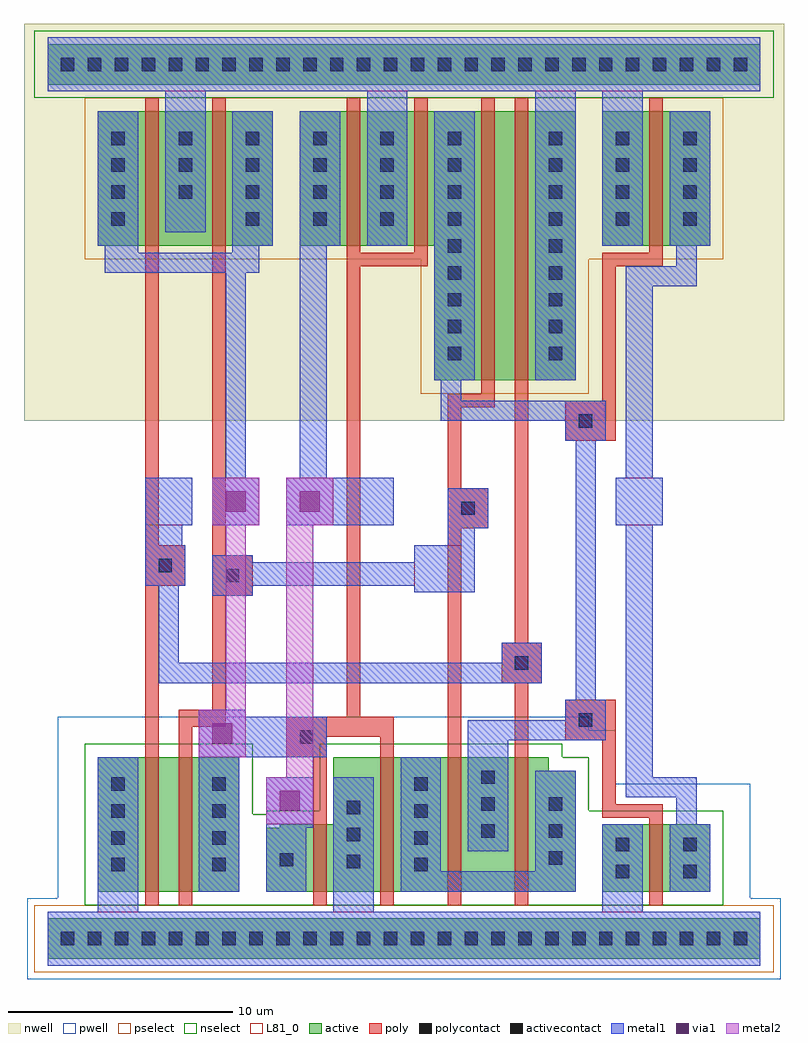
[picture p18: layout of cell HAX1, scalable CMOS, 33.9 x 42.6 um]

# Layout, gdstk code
import gdstk
lib = gdstk.Library(unit=1e-6, precision=1e-09)
def R(c, l, rs):  # rectangles x0, y0, x1, y1
    for r in rs: c.add(gdstk.rectangle(r[:2], r[2:], *l))
def A(c, l, x, y, w, h, nx, ny, dx, dy):  # array of equal rectangles
    R(c, l, [(x+i*dx, y+j*dy, x+i*dx+w, y+j*dy+h) for i in range(nx) for j in range(ny)])
pwell = (41, 0)
nwell = (42, 0)
active = (43, 0)
pselect = (44, 0)
nselect = (45, 0)
poly = (46, 0)
polycontact = (47, 0)
activecontact = (48, 0)
metal1 = (49, 0)
via1 = (50, 0)
metal2 = (51, 0)
L81_0 = (81, 0)

hax1 = lib.new_cell('HAX1')
R(hax1, pwell, [(-1.8,-1.8,31.8,1.8), (-0.45,1.8,30.45,6.9), (-0.45,6.9,24.45,9.3), (-0.45,9.3,23.25,9.9)])
R(hax1, nwell, [(-1.95,23.1,31.95,40.8)])
R(hax1, active, [(-0.9,-0.9,30.9,0.9), (1.35,2.1,7.65,8.1), (8.85,2.1,22.65,4.95), (23.85,2.1,28.65,5.1), (9.45,4.95,22.65,5.1), (11.85,5.1,22.65,7.5), (11.85,7.5,21.45,8.1), (16.35,24.9,22.65,30.9), (1.35,30.9,9.15,36.9), (10.35,30.9,22.65,36.9), (23.85,30.9,28.65,36.9), (-0.9,38.1,30.9,39.9)])
R(hax1, pselect, [(-1.5,-1.5,31.5,1.5), (15.75,24.3,23.25,30.3), (0.75,30.3,29.25,37.5)])
R(hax1, nselect, [(0.75,1.5,29.25,5.55), (0.75,5.55,8.25,8.7), (8.85,5.55,29.25,5.7), (11.25,5.7,23.25,8.1), (11.25,8.1,22.05,8.7), (-1.5,37.5,31.5,40.5)])
R(hax1, poly, [(3.45,1.5,4.05,15.75), (4.95,1.5,5.55,9.45), (10.95,1.5,11.55,8.1), (13.95,1.5,14.55,9), (16.95,1.5,17.55,18.3), (19.95,1.5,20.55,11.4), (25.95,1.5,26.55,5.4), (23.85,5.4,26.55,6), (23.85,6,24.45,8.85), (9.75,8.1,11.55,9), (22.2,8.85,24.45,10.65), (9.75,9,14.55,9.9), (4.95,9.45,7.05,10.2), (12.45,9.9,13.05,30), (6.45,10.2,7.05,15.3), (19.35,11.4,21.15,13.2), (19.95,13.2,20.55,37.5), (6.45,15.3,8.25,17.1), (3.45,15.75,5.25,17.55), (6.45,17.1,7.05,37.5), (3.45,17.55,4.05,37.5), (16.95,18.3,18.75,20.1), (16.95,20.1,17.55,23.7), (22.2,22.2,24.45,24), (16.95,23.7,19.05,24.3), (23.85,24,24.45,30), (18.45,24.3,19.05,37.5), (12.45,30,16.05,30.6), (23.85,30,26.55,30.6), (12.45,30.6,13.05,37.5), (15.45,30.6,16.05,37.5), (25.95,30.6,26.55,37.5)])
R(hax1, polycontact, [(10.35,8.7,10.95,9.3), (22.8,9.45,23.4,10.05), (19.95,12,20.55,12.6), (7.05,15.9,7.65,16.5), (4.05,16.35,4.65,16.95), (17.55,18.9,18.15,19.5), (22.8,22.8,23.4,23.4)])
A(hax1, activecontact, -0.3, -0.3, 0.6, 0.6, 26, 2, 1.2, 39)
A(hax1, activecontact, 1.95, 3, 0.6, 0.6, 1, 4, 0, 1.2)
A(hax1, activecontact, 6.45, 3, 0.6, 0.6, 1, 4, 0, 1.2)
A(hax1, activecontact, 15.45, 3, 0.6, 0.6, 1, 4, 0, 1.2)
A(hax1, activecontact, 12.45, 3.15, 0.6, 0.6, 1, 3, 0, 1.2)
A(hax1, activecontact, 21.45, 3.3, 0.6, 0.6, 1, 3, 0, 1.2)
A(hax1, activecontact, 18.45, 4.5, 0.6, 0.6, 1, 3, 0, 1.2)
A(hax1, activecontact, 16.95, 25.8, 0.6, 0.6, 1, 5, 0, 1.2)
A(hax1, activecontact, 21.45, 25.8, 0.6, 0.6, 1, 5, 0, 1.2)
A(hax1, activecontact, 7.95, 31.8, 0.6, 0.6, 4, 1, 3, 0)
A(hax1, activecontact, 21.45, 31.8, 0.6, 0.6, 3, 4, 3, 1.2)
A(hax1, activecontact, 1.95, 33, 0.6, 0.6, 6, 3, 3, 1.2)
R(hax1, activecontact, [(24.45,2.7,25.05,3.3), (27.45,2.7,28.05,3.3), (9.45,3.22,10.05,3.82), (24.45,3.9,25.05,4.5), (27.45,3.9,28.05,4.5), (1.95,31.8,2.55,32.4)])
R(hax1, metal1, [(-0.9,-1.2,30.9,1.2), (1.35,1.2,3.15,8.1), (11.85,1.2,13.65,7.2), (23.85,1.2,25.65,5.1), (5.85,2.1,7.65,8.1), (8.85,2.1,10.65,4.95), (14.85,2.1,22.65,3), (26.85,2.1,28.65,5.1), (14.85,3,16.65,8.1), (20.85,3,22.65,7.5), (17.85,3.9,19.65,8.85), (8.85,4.95,10.95,7.2), (27.15,5.1,28.05,6.3), (24.9,6.3,28.05,7.2), (24.9,7.2,26.1,18.45), (5.85,8.1,11.55,9.9), (17.85,8.85,24,9.75), (22.2,9.75,24,10.65), (5.85,9.9,7.95,10.2), (22.65,10.65,23.55,22.2), (4.05,11.4,21.15,12.3), (4.05,12.3,4.95,15.75), (19.35,12.3,21.15,13.2), (6.45,15.3,8.25,15.75), (15.45,15.45,18.15,15.75), (3.45,15.75,5.25,17.55), (6.45,15.75,18.15,16.8), (6.45,16.8,8.25,17.1), (15.45,16.8,18.15,17.55), (3.45,17.55,5.1,18.45), (16.95,17.55,18.15,18.3), (16.95,18.3,18.75,20.1), (3.45,18.45,5.55,20.55), (6.45,18.45,8.55,20.55), (9.75,18.45,14.55,20.55), (24.45,18.45,26.55,20.55), (7.05,20.55,7.95,29.7), (10.35,20.55,11.55,30.9), (24.9,20.55,26.1,29.1), (22.2,22.2,24,23.1), (16.65,23.1,24,24), (16.65,24,17.55,24.9), (16.35,24.9,18.15,36.9), (20.85,24.9,22.65,37.8), (24.9,29.1,28.05,30), (1.65,29.7,8.55,30.6), (27.15,30,28.05,30.9), (1.65,30.6,3.15,30.9), (7.35,30.6,8.55,30.9), (1.35,30.9,3.15,36.9), (7.35,30.9,9.15,36.9), (10.35,30.9,12.15,36.9), (13.35,30.9,15.15,37.8), (23.85,30.9,25.65,37.8), (26.85,30.9,28.65,36.9), (4.35,31.5,6.15,37.8), (-0.9,37.8,30.9,40.2)])
R(hax1, via1, [(9.45,5.7,10.35,6.6), (6.45,8.7,7.35,9.6), (7.05,19.05,7.95,19.95), (10.35,19.05,11.25,19.95)])
R(hax1, metal2, [(8.85,5.1,10.95,7.2), (9.75,7.2,10.95,18.45), (5.85,8.1,7.95,10.2), (7.05,10.2,7.95,18.45), (6.45,18.45,8.55,20.55), (9.75,18.45,11.85,20.55)])
R(hax1, L81_0, [(-0.9,-1.2,30.9,1.2), (15.45,15.45,17.55,17.55), (3.45,18.45,5.55,20.55), (12.45,18.45,14.55,20.55), (24.45,18.45,26.55,20.55), (-0.9,37.8,30.9,40.2)])

lib.write_gds('HAX1.gds')
